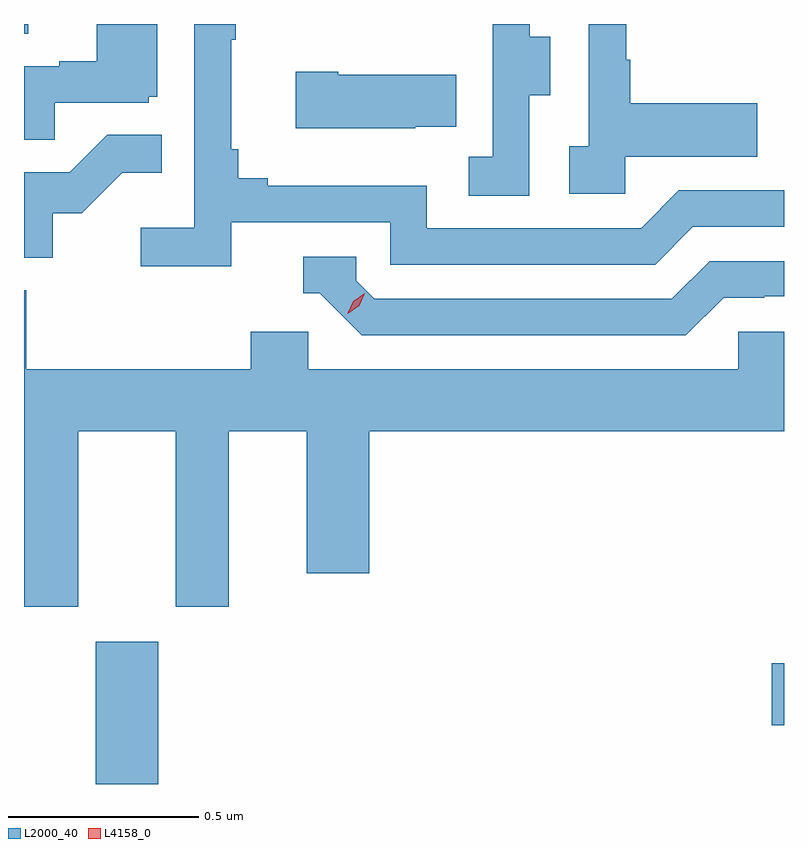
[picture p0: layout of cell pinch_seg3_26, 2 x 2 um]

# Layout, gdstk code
import gdstk
lib = gdstk.Library(unit=1e-6, precision=1e-09)
def R(c, l, rs):  # rectangles x0, y0, x1, y1
    for r in rs: c.add(gdstk.rectangle(r[:2], r[2:], *l))
def P(c, l, *ps):  # polygons
    for p in ps: c.add(gdstk.Polygon(p, *l))
L2000_40 = (2000, 40)
L4158_0 = (4158, 0)

pinch_seg3_26 = lib.new_cell('pinch_seg3_26')
R(pinch_seg3_26, L2000_40, [(1111.505,745.276,1111.669,745.651), (1113.284,745.43,1113.316,745.594), (1111.316,747.25,1111.327,747.276)])
P(pinch_seg3_26, L2000_40, [(1112.898,746.927),(1113.245,746.927),(1113.245,747.067),(1112.911,747.067),(1112.911,747.182),(1112.901,747.182),(1112.901,747.276),(1112.802,747.276),(1112.802,746.954),(1112.751,746.954),(1112.751,746.829),(1112.898,746.829)],
  [(1111.397,747.069),(1111.644,747.069),(1111.644,747.084),(1111.666,747.084),(1111.666,747.276),(1111.508,747.276),(1111.508,747.178),(1111.409,747.178),(1111.409,747.165),(1111.316,747.165),(1111.316,746.971),(1111.397,746.971)],
  [(1111.862,746.754),(1112.28,746.754),(1112.28,746.643),(1112.977,746.643),(1113.076,746.742),(1113.316,746.742),(1113.316,746.838),(1113.039,746.838),(1112.94,746.739),(1112.376,746.739),(1112.376,746.851),(1111.957,746.851),(1111.957,746.87),(1111.88,746.87),(1111.88,746.947),(1111.861,746.947),(1111.861,747.235),(1111.873,747.235),(1111.873,747.276),(1111.764,747.276),(1111.764,746.74),(1111.623,746.74),(1111.623,746.638),(1111.862,746.638)],
  [(1112.646,747.088),(1112.701,747.088),(1112.701,747.243),(1112.647,747.243),(1112.647,747.276),(1112.549,747.276),(1112.549,747.231),(1112.55,747.231),(1112.55,746.927),(1112.487,746.927),(1112.487,746.824),(1112.646,746.824)],
  [(1112.345,747.005),(1112.453,747.005),(1112.453,747.142),(1112.143,747.142),(1112.143,747.15),(1112.031,747.15),(1112.031,747.002),(1112.345,747.002)],
  [(1111.392,746.778),(1111.468,746.778),(1111.575,746.885),(1111.679,746.885),(1111.679,746.984),(1111.535,746.984),(1111.437,746.886),(1111.316,746.886),(1111.316,746.661),(1111.392,746.661)],
  [(1113.157,746.556),(1113.264,746.556),(1113.264,746.559),(1113.316,746.559),(1113.316,746.652),(1113.12,746.652),(1113.021,746.553),(1112.238,746.553),(1112.19,746.601),(1112.19,746.664),(1112.051,746.664),(1112.051,746.568),(1112.094,746.568),(1112.205,746.457),(1113.058,746.457)],
  [(1111.459,746.204),(1111.715,746.204),(1111.715,745.743),(1111.855,745.743),(1111.855,746.204),(1112.06,746.204),(1112.06,745.83),(1112.224,745.83),(1112.224,746.204),(1113.316,746.204),(1113.316,746.466),(1113.195,746.466),(1113.195,746.368),(1112.064,746.368),(1112.064,746.466),(1111.913,746.466),(1111.913,746.368),(1111.322,746.368),(1111.322,746.576),(1111.316,746.576),(1111.316,745.743),(1111.459,745.743)])
P(pinch_seg3_26, L4158_0, [(1112.168,746.514),(1112.168,746.515),(1112.183,746.547),(1112.213,746.567),(1112.213,746.567),(1112.213,746.567),(1112.198,746.534),(1112.168,746.514)])

lib.write_gds('pinch_seg3_26.gds')
